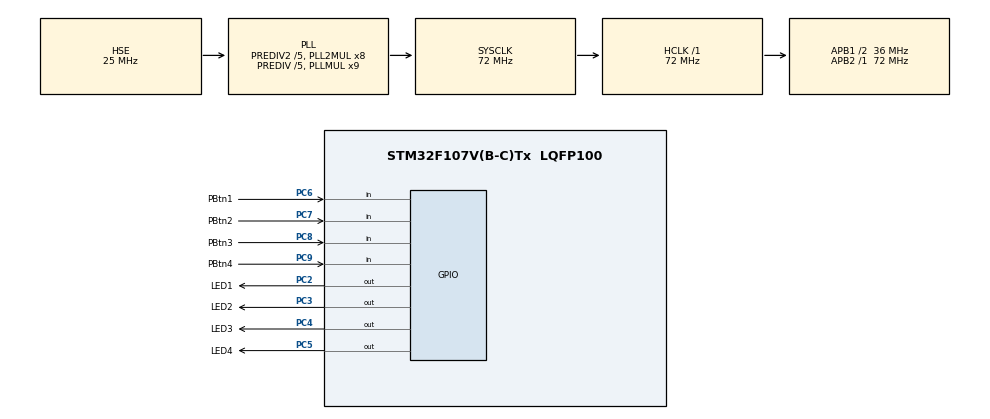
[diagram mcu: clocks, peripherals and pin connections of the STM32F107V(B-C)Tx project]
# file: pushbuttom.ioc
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Mcu.Family=STM32F1
Mcu.Name=STM32F107V(B-C)Tx
Mcu.Package=LQFP100
NVIC.PriorityGroup=NVIC_PRIORITYGROUP_4
OSC_IN.Mode=HSE-External-Oscillator
OSC_IN.Signal=RCC_OSC_IN
OSC_OUT.Mode=HSE-External-Oscillator
OSC_OUT.Signal=RCC_OSC_OUT
PA13.Mode=Serial_Wire
PA13.Signal=SYS_JTMS-SWDIO
PA14.Mode=Serial_Wire
PA14.Signal=SYS_JTCK-SWCLK
PC2.GPIO_Label=LED1
PC2.Signal=GPIO_Output
PC3.GPIO_Label=LED2
PC3.Signal=GPIO_Output
PC4.GPIO_Label=LED3
PC4.Signal=GPIO_Output
PC5.GPIO_Label=LED4
PC5.Signal=GPIO_Output
PC6.GPIO_Label=PBtn1
PC6.Signal=GPIO_Input
PC7.GPIO_Label=PBtn2
PC7.Signal=GPIO_Input
PC8.GPIO_Label=PBtn3
PC8.Signal=GPIO_Input
PC9.GPIO_Label=PBtn4
PC9.Signal=GPIO_Input
ProjectManager.HeapSize=0x200
ProjectManager.StackSize=0x400
ProjectManager.TargetToolchain=MDK-ARM V5
RCC.AHBFreq_Value=72000000
RCC.APB1CLKDivider=RCC_HCLK_DIV2
RCC.APB1Freq_Value=36000000
RCC.APB1TimFreq_Value=72000000
RCC.APB2Freq_Value=72000000
RCC.APB2TimFreq_Value=72000000
RCC.HCLKFreq_Value=72000000
RCC.HSEDivPLL=RCC_HSE_PREDIV_DIV5
RCC.HSE_VALUE=25000000
RCC.PLLMUL=RCC_PLL_MUL9
RCC.PLLSourceVirtual=RCC_PLLSOURCE_HSE
RCC.Prediv1Source=RCC_PREDIV1_SOURCE_PLL2
RCC.Prediv2=RCC_HSE_PREDIV2_DIV5
RCC.SYSCLKFreq_VALUE=72000000
RCC.SYSCLKSource=RCC_SYSCLKSOURCE_PLLCLK
RCC.USBFreq_Value=48000000
board=pushbuttom

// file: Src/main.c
/**
  ******************************************************************************
  * @file           : main.c
  * @brief          : Main program body
  ******************************************************************************
  ** This notice applies to any and all portions of this file
  * that are not between comment pairs USER CODE BEGIN and
  * USER CODE END. Other portions of this file, whether
  * inserted by the user or by software development tools
  * are owned by their respective copyright owners.
  *
  * COPYRIGHT(c) 2018 STMicroelectronics
  *
  * Redistribution and use in source and binary forms, with or without modification,
  * are permitted provided that the following conditions are met:
  *   1. Redistributions of source code must retain the above copyright notice,
  *      this list of conditions and the following disclaimer.
  *   2. Redistributions in binary form must reproduce the above copyright notice,
  *      this list of conditions and the following disclaimer in the documentation
  *      and/or other materials provided with the distribution.
  *   3. Neither the name of STMicroelectronics nor the names of its contributors
  *      may be used to endorse or promote products derived from this software
  *      without specific prior written permission.
  *
  * THIS SOFTWARE IS PROVIDED BY THE COPYRIGHT HOLDERS AND CONTRIBUTORS "AS IS"
  * AND ANY EXPRESS OR IMPLIED WARRANTIES, INCLUDING, BUT NOT LIMITED TO, THE
  * IMPLIED WARRANTIES OF MERCHANTABILITY AND FITNESS FOR A PARTICULAR PURPOSE ARE
  * DISCLAIMED. IN NO EVENT SHALL THE COPYRIGHT HOLDER OR CONTRIBUTORS BE LIABLE
  * FOR ANY DIRECT, INDIRECT, INCIDENTAL, SPECIAL, EXEMPLARY, OR CONSEQUENTIAL
  * DAMAGES (INCLUDING, BUT NOT LIMITED TO, PROCUREMENT OF SUBSTITUTE GOODS OR
  * SERVICES; LOSS OF USE, DATA, OR PROFITS; OR BUSINESS INTERRUPTION) HOWEVER
  * CAUSED AND ON ANY THEORY OF LIABILITY, WHETHER IN CONTRACT, STRICT LIABILITY,
  * OR TORT (INCLUDING NEGLIGENCE OR OTHERWISE) ARISING IN ANY WAY OUT OF THE USE
  * OF THIS SOFTWARE, EVEN IF ADVISED OF THE POSSIBILITY OF SUCH DAMAGE.
  *
  ******************************************************************************
  */
#include "main.h"
#include "stm32f1xx_hal.h"

/* USER CODE BEGIN PV */
/* Private variables ---------------------------------------------------------*/

/* USER CODE END PV */

void SystemClock_Config(void);
static void MX_GPIO_Init(void);

/* USER CODE BEGIN PFP */
/* Private function prototypes -----------------------------------------------*/

/* USER CODE END PFP */

int main(void)
{

  /* MCU Configuration----------------------------------------------------------*/

  /* Reset of all peripherals, Initializes the Flash interface and the Systick. */
  HAL_Init();

  /* Configure the system clock */
  SystemClock_Config();

  /* Initialize all configured peripherals */
  MX_GPIO_Init();

  /* Infinite loop */
  while (1)
  {

  /* USER CODE BEGIN 3 */
	  if(HAL_GPIO_ReadPin(GPIOC,GPIO_PIN_6) == GPIO_PIN_RESET)
        HAL_GPIO_WritePin(GPIOC,GPIO_PIN_2,GPIO_PIN_SET);
    else
        HAL_GPIO_WritePin(GPIOC,GPIO_PIN_2,GPIO_PIN_RESET);
/******************************************************************/
		if(HAL_GPIO_ReadPin(GPIOC,GPIO_PIN_7) == GPIO_PIN_RESET)
        HAL_GPIO_WritePin(GPIOC,GPIO_PIN_3,GPIO_PIN_SET);
    else
        HAL_GPIO_WritePin(GPIOC,GPIO_PIN_3,GPIO_PIN_RESET);
/******************************************************************/
		if(HAL_GPIO_ReadPin(GPIOC,GPIO_PIN_8) == GPIO_PIN_RESET)
        HAL_GPIO_WritePin(GPIOC,GPIO_PIN_4,GPIO_PIN_SET);
    else
        HAL_GPIO_WritePin(GPIOC,GPIO_PIN_4,GPIO_PIN_RESET);
/******************************************************************/
		if(HAL_GPIO_ReadPin(GPIOC,GPIO_PIN_9) == GPIO_PIN_RESET)
        HAL_GPIO_WritePin(GPIOC,GPIO_PIN_5,GPIO_PIN_SET);
    else
        HAL_GPIO_WritePin(GPIOC,GPIO_PIN_5,GPIO_PIN_RESET);
/******************************************************************/
  }
  /* USER CODE END 3 */

}

void SystemClock_Config(void)
{

  RCC_OscInitTypeDef RCC_OscInitStruct;
  RCC_ClkInitTypeDef RCC_ClkInitStruct;

    /**Initializes the CPU, AHB and APB busses clocks
    */
  RCC_OscInitStruct.OscillatorType = RCC_OSCILLATORTYPE_HSE;
  RCC_OscInitStruct.HSEState = RCC_HSE_ON;
  RCC_OscInitStruct.HSEPredivValue = RCC_HSE_PREDIV_DIV5;
  RCC_OscInitStruct.HSIState = RCC_HSI_ON;
  RCC_OscInitStruct.Prediv1Source = RCC_PREDIV1_SOURCE_PLL2;
  RCC_OscInitStruct.PLL.PLLState = RCC_PLL_ON;
  RCC_OscInitStruct.PLL.PLLSource = RCC_PLLSOURCE_HSE;
  RCC_OscInitStruct.PLL.PLLMUL = RCC_PLL_MUL9;
  RCC_OscInitStruct.PLL2.PLL2State = RCC_PLL2_ON;
  RCC_OscInitStruct.PLL2.PLL2MUL = RCC_PLL2_MUL8;
  RCC_OscInitStruct.PLL2.HSEPrediv2Value = RCC_HSE_PREDIV2_DIV5;
  if (HAL_RCC_OscConfig(&RCC_OscInitStruct) != HAL_OK)
  {
    _Error_Handler(__FILE__, __LINE__);
  }

    /**Initializes the CPU, AHB and APB busses clocks
    */
  RCC_ClkInitStruct.ClockType = RCC_CLOCKTYPE_HCLK|RCC_CLOCKTYPE_SYSCLK
                              |RCC_CLOCKTYPE_PCLK1|RCC_CLOCKTYPE_PCLK2;
  RCC_ClkInitStruct.SYSCLKSource = RCC_SYSCLKSOURCE_PLLCLK;
  RCC_ClkInitStruct.AHBCLKDivider = RCC_SYSCLK_DIV1;
  RCC_ClkInitStruct.APB1CLKDivider = RCC_HCLK_DIV2;
  RCC_ClkInitStruct.APB2CLKDivider = RCC_HCLK_DIV1;

  if (HAL_RCC_ClockConfig(&RCC_ClkInitStruct, FLASH_LATENCY_2) != HAL_OK)
  {
    _Error_Handler(__FILE__, __LINE__);
  }

    /**Configure the Systick interrupt time
    */
  HAL_SYSTICK_Config(HAL_RCC_GetHCLKFreq()/1000);

    /**Configure the Systick
    */
  HAL_SYSTICK_CLKSourceConfig(SYSTICK_CLKSOURCE_HCLK);

    /**Configure the Systick interrupt time
    */
  __HAL_RCC_PLLI2S_ENABLE();

  /* SysTick_IRQn interrupt configuration */
  HAL_NVIC_SetPriority(SysTick_IRQn, 0, 0);
}

/** Configure pins as
        * Analog
        * Input
        * Output
        * EVENT_OUT
        * EXTI
*/
static void MX_GPIO_Init(void)
{

  GPIO_InitTypeDef GPIO_InitStruct;

  /* GPIO Ports Clock Enable */
  __HAL_RCC_GPIOC_CLK_ENABLE();
  __HAL_RCC_GPIOA_CLK_ENABLE();

  /*Configure GPIO pin Output Level */
  HAL_GPIO_WritePin(GPIOC, LED1_Pin|LED2_Pin|LED3_Pin|LED4_Pin, GPIO_PIN_RESET);

  /*Configure GPIO pins : LED1_Pin LED2_Pin LED3_Pin LED4_Pin */
  GPIO_InitStruct.Pin = LED1_Pin|LED2_Pin|LED3_Pin|LED4_Pin;
  GPIO_InitStruct.Mode = GPIO_MODE_OUTPUT_PP;
  GPIO_InitStruct.Speed = GPIO_SPEED_FREQ_LOW;
  HAL_GPIO_Init(GPIOC, &GPIO_InitStruct);

  /*Configure GPIO pins : PBtn1_Pin PBtn2_Pin PBtn3_Pin PBtn4_Pin */
  GPIO_InitStruct.Pin = PBtn1_Pin|PBtn2_Pin|PBtn3_Pin|PBtn4_Pin;
  GPIO_InitStruct.Mode = GPIO_MODE_INPUT;
  GPIO_InitStruct.Pull = GPIO_NOPULL;
  HAL_GPIO_Init(GPIOC, &GPIO_InitStruct);

}

void _Error_Handler(char *file, int line)
{
  while(1)
  {
  }
}

/************************ (C) COPYRIGHT STMicroelectronics *****END OF FILE****/
